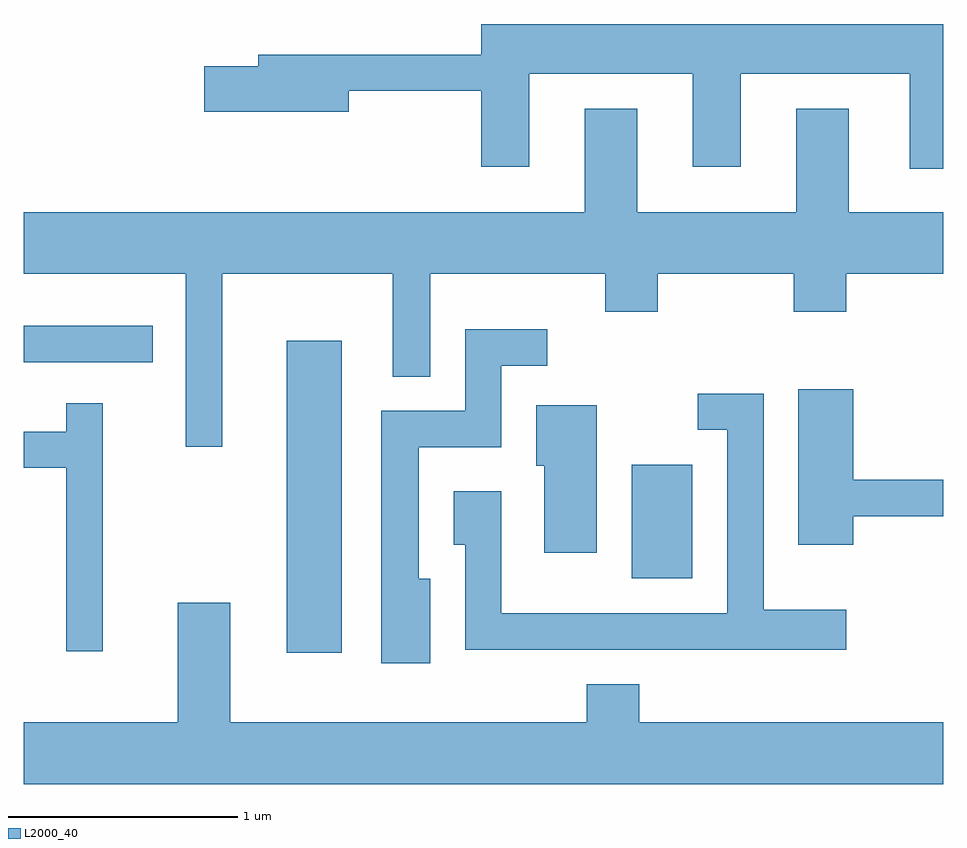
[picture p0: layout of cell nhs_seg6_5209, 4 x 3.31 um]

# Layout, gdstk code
import gdstk
lib = gdstk.Library(unit=1e-6, precision=1e-09)
def R(c, l, rs):  # rectangles x0, y0, x1, y1
    for r in rs: c.add(gdstk.rectangle(r[:2], r[2:], *l))
def P(c, l, *ps):  # polygons
    for p in ps: c.add(gdstk.Polygon(p, *l))
L2000_40 = (2000, 40)

nhs_seg6_5209 = lib.new_cell('nhs_seg6_5209')
R(nhs_seg6_5209, L2000_40, [(344.756,1619.426,344.994,1620.784), (346.256,1619.751,346.519,1620.244), (343.611,1620.691,344.173,1620.849)])
P(nhs_seg6_5209, L2000_40, [(347.611,1622.162),(345.601,1622.162),(345.601,1622.029),(344.631,1622.029),(344.631,1621.979),(344.396,1621.979),(344.396,1621.781),(345.024,1621.781),(345.024,1621.871),(345.601,1621.871),(345.601,1621.541),(345.809,1621.541),(345.809,1621.946),(346.521,1621.946),(346.521,1621.541),(346.729,1621.541),(346.729,1621.946),(347.466,1621.946),(347.466,1621.533),(347.611,1621.533)],
  [(344.474,1621.076),(345.216,1621.076),(345.216,1620.628),(345.379,1620.628),(345.379,1621.076),(346.141,1621.076),(346.141,1620.911),(346.369,1620.911),(346.369,1621.076),(346.961,1621.076),(346.961,1620.911),(347.189,1620.911),(347.189,1621.076),(347.611,1621.076),(347.611,1621.344),(347.199,1621.344),(347.199,1621.794),(346.971,1621.794),(346.971,1621.344),(346.279,1621.344),(346.279,1621.794),(346.051,1621.794),(346.051,1621.344),(343.611,1621.344),(343.611,1621.076),(344.316,1621.076),(344.316,1620.323),(344.474,1620.323)],
  [(345.379,1619.749),(345.329,1619.749),(345.329,1620.321),(345.689,1620.321),(345.689,1620.676),(345.888,1620.676),(345.888,1620.834),(345.531,1620.834),(345.531,1620.479),(345.166,1620.479),(345.166,1619.381),(345.379,1619.381)],
  [(347.219,1620.021),(347.611,1620.021),(347.611,1620.179),(347.219,1620.179),(347.219,1620.574),(346.981,1620.574),(346.981,1619.896),(347.219,1619.896)],
  [(347.189,1619.614),(346.829,1619.614),(346.829,1620.554),(346.543,1620.554),(346.543,1620.396),(346.671,1620.396),(346.671,1619.599),(345.689,1619.599),(345.689,1620.129),(345.481,1620.129),(345.481,1619.896),(345.531,1619.896),(345.531,1619.441),(347.189,1619.441)],
  [(343.954,1620.513),(343.796,1620.513),(343.796,1620.389),(343.611,1620.389),(343.611,1620.231),(343.796,1620.231),(343.796,1619.433),(343.954,1619.433)],
  [(346.104,1620.504),(345.841,1620.504),(345.841,1620.241),(345.876,1620.241),(345.876,1619.861),(346.104,1619.861)],
  [(347.611,1619.124),(346.289,1619.124),(346.289,1619.289),(346.061,1619.289),(346.061,1619.124),(344.509,1619.124),(344.509,1619.644),(344.281,1619.644),(344.281,1619.124),(343.611,1619.124),(343.611,1618.856),(347.611,1618.856)])

lib.write_gds('nhs_seg6_5209.gds')
